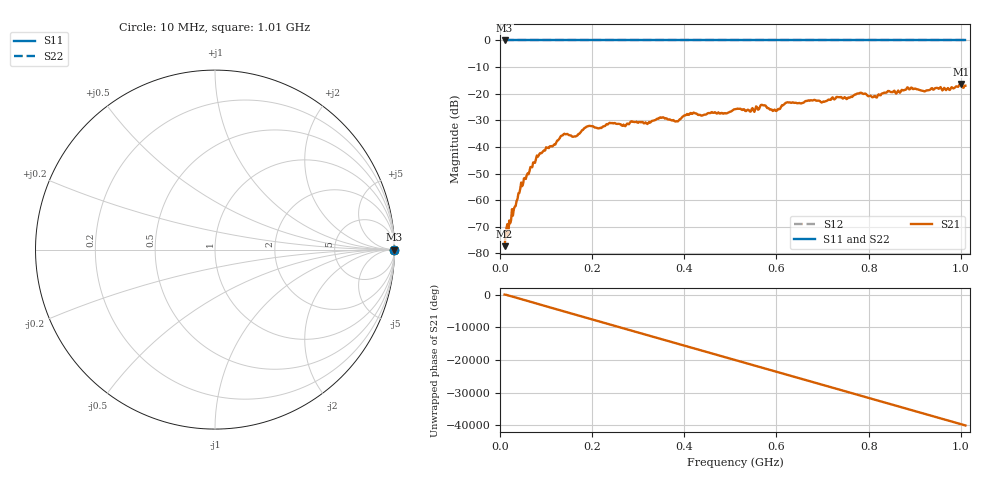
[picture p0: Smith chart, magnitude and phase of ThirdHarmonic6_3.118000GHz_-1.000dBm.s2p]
! 8/17/2025 9:14:50 AM
! C:\ANRITSUVNA\TEMP\TEMP.S2P
! CHANNEL.1
! TR.MEASUREMENT
! RAW.DATA
! RF.CORRECTION.OFF
! AVERAGING.OFF
! IF.BANDWIDTH: 5KHZ
! SWEEPTYPE:  FREQ.SWEEP(Linear)
! Reference Plane Port Info
! PORT:  PORT1  PORT2
! DISTANCE:  0  m  0  m
! TIME:  0  s  0  s
! PHASE.OFFSET:  0  deg.  0  deg.
! LOSS:  0  dB  0  dB
! REF.LOSS:  0  dB  0  dB
! REF.FREQ:  0  Hz  0  Hz
! Power Info
! POWER:  -20  dBm  -20  dBm
! EFF.POWER:  -20  dBm  -20  dBm
! SOURCE.ATTEN:  0  dB  0  dB
! TEST.ATTEN:  0  dB  0  dB
# GHZ S RI R 50.0
! FREQ.GHZ  S11RE  S11IM  S21RE  S21IM  S12RE  S12IM  S22RE  S22IM
!; PortSelection: Port_12
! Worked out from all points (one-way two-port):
!   501 points, 10 MHz to 1.01 GHz, reference 50 ohm
!   highest |S21| = -16.33 dB at 1 GHz (marker M1); lowest = -77.3 dB at 10 MHz (marker M2)
!   lowest |S11| = 0.0 dB at 10 MHz (marker M3)
!   |S11| at or under -10 dB: nowhere
!   |S22| runs from 0.0 to 0.0 dB; largest |S21 - S12| = 1.1
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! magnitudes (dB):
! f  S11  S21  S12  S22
! 10 MHz  0.0  -77.3  0.0  0.0
! 48 MHz  0.0  -54.8  0.0  0.0
! 82 MHz  0.0  -43.7  0.0  0.0
! 136 MHz  0.0  -35.7  0.0  0.0
! 162 MHz  0.0  -36.0  0.0  0.0
! 178 MHz  0.0  -33.7  0.0  0.0
! 192 MHz  0.0  -32.2  0.0  0.0
! 318 MHz  0.0  -31.2  0.0  0.0
! 344 MHz  0.0  -29.4  0.0  0.0
! 384 MHz  0.0  -30.3  0.0  0.0
! 416 MHz  0.0  -27.6  0.0  0.0
! 510 MHz  0.0  -25.8  0.0  0.0
! 548 MHz  0.0  -25.4  0.0  0.0
! 570 MHz  0.0  -24.3  0.0  0.0
! 596 MHz  0.0  -26.0  0.0  0.0
! 624 MHz  0.0  -23.2  0.0  0.0
! 678 MHz  0.0  -22.6  0.0  0.0
! 780 MHz  0.0  -19.8  0.0  0.0
! 814 MHz  0.0  -20.9  0.0  0.0
! 844 MHz  0.0  -19.0  0.0  0.0
! 1 GHz  0.0  -16.3  0.0  0.0
! 1.01 GHz  0.0  -17.0  0.0  0.0
